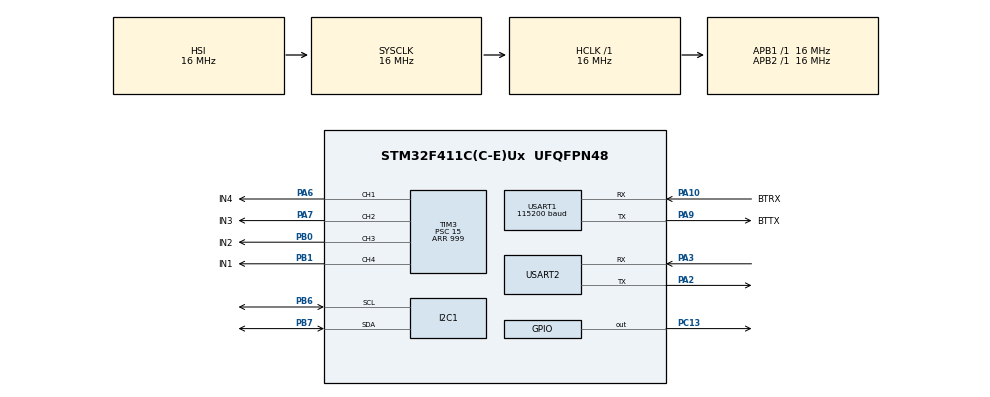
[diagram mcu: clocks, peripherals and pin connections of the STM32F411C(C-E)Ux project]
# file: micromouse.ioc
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Mcu.Family=STM32F4
Mcu.Name=STM32F411C(C-E)Ux
Mcu.Package=UFQFPN48
NVIC.PriorityGroup=NVIC_PRIORITYGROUP_4
PA10.GPIO_Label=BTRX
PA10.Mode=Asynchronous
PA10.Signal=USART1_RX
PA2.Mode=Asynchronous
PA2.Signal=USART2_TX
PA3.Mode=Asynchronous
PA3.Signal=USART2_RX
PA6.GPIO_Label=IN4
PA6.Signal=S_TIM3_CH1
PA7.GPIO_Label=IN3
PA7.Signal=S_TIM3_CH2
PA9.GPIO_Label=BTTX
PA9.Mode=Asynchronous
PA9.Signal=USART1_TX
PB0.GPIO_Label=IN2
PB0.Signal=S_TIM3_CH3
PB1.GPIO_Label=IN1
PB1.Signal=S_TIM3_CH4
PB6.Mode=I2C
PB6.Signal=I2C1_SCL
PB7.Mode=I2C
PB7.Signal=I2C1_SDA
PC13-ANTI_TAMP.Signal=GPIO_Output
ProjectManager.HeapSize=0x200
ProjectManager.StackSize=0x400
ProjectManager.TargetToolchain=STM32CubeIDE
RCC.AHBFreq_Value=16000000
RCC.APB1Freq_Value=16000000
RCC.APB2Freq_Value=16000000
RCC.CortexFreq_Value=16000000
RCC.HSE_VALUE=25000000
RCC.HSI_VALUE=16000000
RCC.LSE_VALUE=32768
RCC.SYSCLKFreq_VALUE=16000000
RCC.VCOOutputFreq_Value=192000000
SH.S_TIM3_CH1.0=TIM3_CH1,PWM Generation1 CH1
SH.S_TIM3_CH2.0=TIM3_CH2,PWM Generation2 CH2
SH.S_TIM3_CH3.0=TIM3_CH3,PWM Generation3 CH3
SH.S_TIM3_CH4.0=TIM3_CH4,PWM Generation4 CH4
TIM2.Period=65535
TIM2.Prescaler=15
TIM3.Channel-PWM\ Generation1\ CH1=TIM_CHANNEL_1
TIM3.Channel-PWM\ Generation2\ CH2=TIM_CHANNEL_2
TIM3.Channel-PWM\ Generation3\ CH3=TIM_CHANNEL_3
TIM3.Channel-PWM\ Generation4\ CH4=TIM_CHANNEL_4
TIM3.Period=999
TIM3.Prescaler=15
USART1.BaudRate=115200
USART1.VirtualMode=VM_ASYNC
USART2.VirtualMode=VM_ASYNC
VP_TIM2_VS_ClockSourceINT.Mode=Internal
VP_TIM3_VS_ClockSourceINT.Mode=Internal
board=custom

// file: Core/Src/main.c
/* USER CODE BEGIN Header */
/**
  ******************************************************************************
  * @file           : main.c
  * @brief          : Main program body
  ******************************************************************************
  * @attention
  *
  * Copyright (c) 2026 STMicroelectronics.
  * All rights reserved.
  *
  * This software is licensed under terms that can be found in the LICENSE file
  * in the root directory of this software component.
  * If no LICENSE file comes with this software, it is provided AS-IS.
  *
  ******************************************************************************
  */
/* USER CODE END Header */
#include "main.h"

/* USER CODE BEGIN Includes */
#include "led.h"
#include "delay.h"
#include "pwm.h"
#include "motor.h"
#include "uart.h"
#include "i2c.h"
#include "mpu6500.h"
#include "bt.h"
#include "bt_rx.h"
#include "joystick.h"
/* USER CODE END Includes */

I2C_HandleTypeDef hi2c1;

TIM_HandleTypeDef htim2;
TIM_HandleTypeDef htim3;

UART_HandleTypeDef huart1;
UART_HandleTypeDef huart2;

void SystemClock_Config(void);
static void MX_GPIO_Init(void);
static void MX_TIM2_Init(void);
static void MX_TIM3_Init(void);
static void MX_USART2_UART_Init(void);
static void MX_I2C1_Init(void);
static void MX_USART1_UART_Init(void);

int main(void)
{

  /* MCU Configuration--------------------------------------------------------*/

  /* Reset of all peripherals, Initializes the Flash interface and the Systick. */
  HAL_Init();

  /* Configure the system clock */
  SystemClock_Config();

  /* Initialize all configured peripherals */
  MX_GPIO_Init();
  MX_TIM2_Init();
  MX_TIM3_Init();
  MX_USART2_UART_Init();
  MX_I2C1_Init();
  MX_USART1_UART_Init();
  /* USER CODE BEGIN 2 */
//  HAL_TIM_Base_Start(&htim2);
  TIM2->CR1 |= (1U << 0);
  HAL_TIM_PWM_Start(&htim3, TIM_CHANNEL_1);
  HAL_TIM_PWM_Start(&htim3, TIM_CHANNEL_2);
  HAL_TIM_PWM_Start(&htim3, TIM_CHANNEL_3);
  HAL_TIM_PWM_Start(&htim3, TIM_CHANNEL_4);
//  uint8_t whoami;
//  HAL_I2C_Mem_Read(
//      &hi2c1,              // Use I2C1
//      0x68 << 1,           // MPU6500 address
//      0x75,                // WHO_AM_I register
//      I2C_MEMADD_SIZE_8BIT,// Register address is 8-bit
//      &whoami,           // Store received byte here
//      1,                   // Read 1 byte
//      100                  // 100 ms timeout
//  );
//  whoami =  mpu6500_whoami();
//  uart_printf("%d",whoami);
//  mpu6500_init();
////  MPU6500_Data imu;
////
//  char msg[] = "UART OK\r\n";
//  uart_printf(msg);
//
//  uart_printf("Calibrating gyro...\r\n");
//
//  mpu6500_calibrate_gyro();
//
//  uart_write("Gyro calibration done\r\n");
//  uint16_t last_time = TIM2->CNT;
//  float time = 0;
  bt_rx_init();
  joystick_init();
  /* USER CODE END 2 */

  /* Infinite loop */
  while (1)
  {

    /* USER CODE BEGIN 3 */

//	  motor_left(+50);   // forward 50%
//	  delay_ms(2000);
//	  motor_left(-50);    // reverse 50%
//
//	  motor_right(+50);   // forward 50%
//	  motor_right(-50);   // reverse 50%
//
//	  motor_left(0);      // stop
//	  motor_right(0);     // stop

//	    uart_write(msg);
//	    uart_write("TIM2 CNT = ");
//	    uart_write_uint(TIM3->CNT);
//	    uart_write("\r\n");
//	    delay_ms(500);

//	  int16_t left = 50;
//	  int16_t right = 45;
//
//	  uart_printf("LEFT=%d RIGHT=%d\r\n", left, right);
//
//	  delay_ms(500);
//	  pwm_set(1 , 50);
//	  for (int i=0; i<100; i++){
//		  pwm_set(1 , i);
//		  delay_ms(50);
//	  }
//	  for (int i=0; i<100; i++){
//	  		  pwm_set(1 , 100-i);
//	  		  delay_ms(50);
//	  }

//	  if (mpu6500_read(&imu))
//	  {
//		  uart_printf("A: %.3f %.3f %.3f | G: %.3f %.3f %.3f\r\n",
//		              imu.accel_x,
//		              imu.accel_y,
//		              imu.accel_z,
//		              imu.gyro_x,
//		              imu.gyro_y,
//		              imu.gyro_z);
//	  }
//	  else
//	  {
//	      uart_printf("MPU6500 READ FAILED\r\n");
//	  }
//	  uint16_t now = TIM2->CNT;
//	  uint16_t elapsed = now - last_time;
//	  time += elapsed/1000000.0f;
//	  last_time = now;
//	  float dt = elapsed / 1000000.0f;
////	  if (time < 30){
//	  mpu6500_update_heading(dt);
////	  uart_printf("%.3f \r\n" , time);
//	  uart_printf("Heading: %.2f\r\n", mpu6500_get_heading());
////	  }
//	  bt_printf("%d\r\n",i);
//	  i++;
	  joystick_update();
	  joystick_motor_control();

  }
  /* USER CODE END 3 */
}

void SystemClock_Config(void)
{
  RCC_OscInitTypeDef RCC_OscInitStruct = {0};
  RCC_ClkInitTypeDef RCC_ClkInitStruct = {0};

  /** Configure the main internal regulator output voltage
  */
  __HAL_RCC_PWR_CLK_ENABLE();
  __HAL_PWR_VOLTAGESCALING_CONFIG(PWR_REGULATOR_VOLTAGE_SCALE1);

  /** Initializes the RCC Oscillators according to the specified parameters
  * in the RCC_OscInitTypeDef structure.
  */
  RCC_OscInitStruct.OscillatorType = RCC_OSCILLATORTYPE_HSI;
  RCC_OscInitStruct.HSIState = RCC_HSI_ON;
  RCC_OscInitStruct.HSICalibrationValue = RCC_HSICALIBRATION_DEFAULT;
  RCC_OscInitStruct.PLL.PLLState = RCC_PLL_NONE;
  if (HAL_RCC_OscConfig(&RCC_OscInitStruct) != HAL_OK)
  {
    Error_Handler();
  }

  /** Initializes the CPU, AHB and APB buses clocks
  */
  RCC_ClkInitStruct.ClockType = RCC_CLOCKTYPE_HCLK|RCC_CLOCKTYPE_SYSCLK
                              |RCC_CLOCKTYPE_PCLK1|RCC_CLOCKTYPE_PCLK2;
  RCC_ClkInitStruct.SYSCLKSource = RCC_SYSCLKSOURCE_HSI;
  RCC_ClkInitStruct.AHBCLKDivider = RCC_SYSCLK_DIV1;
  RCC_ClkInitStruct.APB1CLKDivider = RCC_HCLK_DIV1;
  RCC_ClkInitStruct.APB2CLKDivider = RCC_HCLK_DIV1;

  if (HAL_RCC_ClockConfig(&RCC_ClkInitStruct, FLASH_LATENCY_0) != HAL_OK)
  {
    Error_Handler();
  }
}

static void MX_I2C1_Init(void)
{

  hi2c1.Instance = I2C1;
  hi2c1.Init.ClockSpeed = 100000;
  hi2c1.Init.DutyCycle = I2C_DUTYCYCLE_2;
  hi2c1.Init.OwnAddress1 = 0;
  hi2c1.Init.AddressingMode = I2C_ADDRESSINGMODE_7BIT;
  hi2c1.Init.DualAddressMode = I2C_DUALADDRESS_DISABLE;
  hi2c1.Init.OwnAddress2 = 0;
  hi2c1.Init.GeneralCallMode = I2C_GENERALCALL_DISABLE;
  hi2c1.Init.NoStretchMode = I2C_NOSTRETCH_DISABLE;
  if (HAL_I2C_Init(&hi2c1) != HAL_OK)
  {
    Error_Handler();
  }

}

static void MX_TIM2_Init(void)
{

  TIM_ClockConfigTypeDef sClockSourceConfig = {0};
  TIM_MasterConfigTypeDef sMasterConfig = {0};

  htim2.Instance = TIM2;
  htim2.Init.Prescaler = 15;
  htim2.Init.CounterMode = TIM_COUNTERMODE_UP;
  htim2.Init.Period = 65535;
  htim2.Init.ClockDivision = TIM_CLOCKDIVISION_DIV1;
  htim2.Init.AutoReloadPreload = TIM_AUTORELOAD_PRELOAD_DISABLE;
  if (HAL_TIM_Base_Init(&htim2) != HAL_OK)
  {
    Error_Handler();
  }
  sClockSourceConfig.ClockSource = TIM_CLOCKSOURCE_INTERNAL;
  if (HAL_TIM_ConfigClockSource(&htim2, &sClockSourceConfig) != HAL_OK)
  {
    Error_Handler();
  }
  sMasterConfig.MasterOutputTrigger = TIM_TRGO_RESET;
  sMasterConfig.MasterSlaveMode = TIM_MASTERSLAVEMODE_DISABLE;
  if (HAL_TIMEx_MasterConfigSynchronization(&htim2, &sMasterConfig) != HAL_OK)
  {
    Error_Handler();
  }

}

static void MX_TIM3_Init(void)
{

  TIM_ClockConfigTypeDef sClockSourceConfig = {0};
  TIM_MasterConfigTypeDef sMasterConfig = {0};
  TIM_OC_InitTypeDef sConfigOC = {0};

  htim3.Instance = TIM3;
  htim3.Init.Prescaler = 15;
  htim3.Init.CounterMode = TIM_COUNTERMODE_UP;
  htim3.Init.Period = 999;
  htim3.Init.ClockDivision = TIM_CLOCKDIVISION_DIV1;
  htim3.Init.AutoReloadPreload = TIM_AUTORELOAD_PRELOAD_DISABLE;
  if (HAL_TIM_Base_Init(&htim3) != HAL_OK)
  {
    Error_Handler();
  }
  sClockSourceConfig.ClockSource = TIM_CLOCKSOURCE_INTERNAL;
  if (HAL_TIM_ConfigClockSource(&htim3, &sClockSourceConfig) != HAL_OK)
  {
    Error_Handler();
  }
  if (HAL_TIM_PWM_Init(&htim3) != HAL_OK)
  {
    Error_Handler();
  }
  sMasterConfig.MasterOutputTrigger = TIM_TRGO_RESET;
  sMasterConfig.MasterSlaveMode = TIM_MASTERSLAVEMODE_DISABLE;
  if (HAL_TIMEx_MasterConfigSynchronization(&htim3, &sMasterConfig) != HAL_OK)
  {
    Error_Handler();
  }
  sConfigOC.OCMode = TIM_OCMODE_PWM1;
  sConfigOC.Pulse = 0;
  sConfigOC.OCPolarity = TIM_OCPOLARITY_HIGH;
  sConfigOC.OCFastMode = TIM_OCFAST_DISABLE;
  if (HAL_TIM_PWM_ConfigChannel(&htim3, &sConfigOC, TIM_CHANNEL_1) != HAL_OK)
  {
    Error_Handler();
  }
  if (HAL_TIM_PWM_ConfigChannel(&htim3, &sConfigOC, TIM_CHANNEL_2) != HAL_OK)
  {
    Error_Handler();
  }
  if (HAL_TIM_PWM_ConfigChannel(&htim3, &sConfigOC, TIM_CHANNEL_3) != HAL_OK)
  {
    Error_Handler();
  }
  if (HAL_TIM_PWM_ConfigChannel(&htim3, &sConfigOC, TIM_CHANNEL_4) != HAL_OK)
  {
    Error_Handler();
  }
  HAL_TIM_MspPostInit(&htim3);

}

static void MX_USART1_UART_Init(void)
{

  huart1.Instance = USART1;
  huart1.Init.BaudRate = 115200;
  huart1.Init.WordLength = UART_WORDLENGTH_8B;
  huart1.Init.StopBits = UART_STOPBITS_1;
  huart1.Init.Parity = UART_PARITY_NONE;
  huart1.Init.Mode = UART_MODE_TX_RX;
  huart1.Init.HwFlowCtl = UART_HWCONTROL_NONE;
  huart1.Init.OverSampling = UART_OVERSAMPLING_16;
  if (HAL_UART_Init(&huart1) != HAL_OK)
  {
    Error_Handler();
  }

}

static void MX_USART2_UART_Init(void)
{

  huart2.Instance = USART2;
  huart2.Init.BaudRate = 115200;
  huart2.Init.WordLength = UART_WORDLENGTH_8B;
  huart2.Init.StopBits = UART_STOPBITS_1;
  huart2.Init.Parity = UART_PARITY_NONE;
  huart2.Init.Mode = UART_MODE_TX_RX;
  huart2.Init.HwFlowCtl = UART_HWCONTROL_NONE;
  huart2.Init.OverSampling = UART_OVERSAMPLING_16;
  if (HAL_UART_Init(&huart2) != HAL_OK)
  {
    Error_Handler();
  }

}

static void MX_GPIO_Init(void)
{
  GPIO_InitTypeDef GPIO_InitStruct = {0};

  /* GPIO Ports Clock Enable */
  __HAL_RCC_GPIOC_CLK_ENABLE();
  __HAL_RCC_GPIOA_CLK_ENABLE();
  __HAL_RCC_GPIOB_CLK_ENABLE();

  /*Configure GPIO pin Output Level */
  HAL_GPIO_WritePin(GPIOC, GPIO_PIN_13, GPIO_PIN_RESET);

  /*Configure GPIO pin : PC13 */
  GPIO_InitStruct.Pin = GPIO_PIN_13;
  GPIO_InitStruct.Mode = GPIO_MODE_OUTPUT_PP;
  GPIO_InitStruct.Pull = GPIO_NOPULL;
  GPIO_InitStruct.Speed = GPIO_SPEED_FREQ_LOW;
  HAL_GPIO_Init(GPIOC, &GPIO_InitStruct);

}

void Error_Handler(void)
{
  __disable_irq();
  while (1)
  {
  }
}
